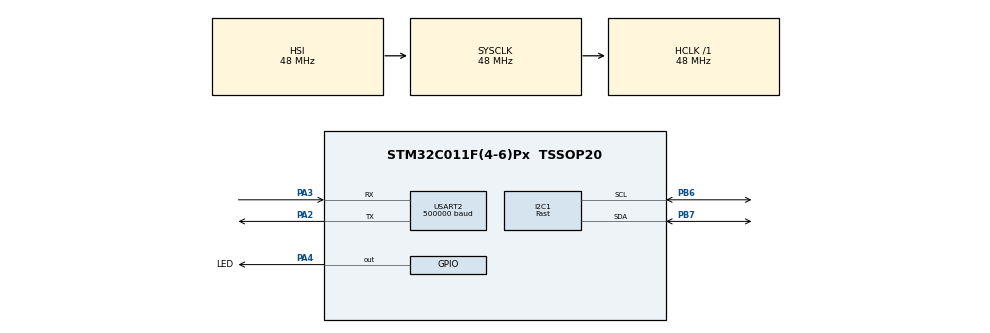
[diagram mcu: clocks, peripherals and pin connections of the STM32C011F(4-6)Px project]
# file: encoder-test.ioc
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I2C1.CustomTiming=Disabled
I2C1.I2C_Speed_Mode=I2C_Fast
I2C1.Timing=0x0090194B
Mcu.Family=STM32C0
Mcu.Name=STM32C011F(4-6)Px
Mcu.Package=TSSOP20
NVIC.TIM3_IRQn=true\:0\:0\:false\:false\:true\:true\:true\:true
PA2.Mode=Asynchronous
PA2.Signal=USART2_TX
PA3.Mode=Asynchronous
PA3.Signal=USART2_RX
PA4.GPIO_Label=LED
PA4.Signal=GPIO_Output
PB6.Mode=I2C
PB6.Signal=I2C1_SCL
PB7.Mode=I2C
PB7.Signal=I2C1_SDA
PC14-OSCX_IN\ (PC14).Mode=HSE-External-Oscillator-REMAPPED
PC14-OSCX_IN\ (PC14).Signal=RCC_OSCX_IN
PC15-OSCX_OUT\ (PC15).Mode=HSE-External-Oscillator-REMAPPED
PC15-OSCX_OUT\ (PC15).Signal=RCC_OSCX_OUT
ProjectManager.HeapSize=0x200
ProjectManager.StackSize=0x400
ProjectManager.TargetToolchain=STM32CubeIDE
RCC.ADCFreq_Value=48000000
RCC.AHBFreq_Value=48000000
RCC.CortexFreq_Value=48000000
RCC.EXTERNAL_CLOCK_VALUE=12288000
RCC.HCLKFreq_Value=48000000
RCC.HSE_VALUE=16000000
RCC.HSISYSCLKDivider=RCC_HSI_DIV1
RCC.HSI_VALUE=48000000
RCC.LSE_VALUE=32768
RCC.SYSCLKFreq_VALUE=48000000
TIM3.Prescaler=47
USART2.BaudRate=500000
USART2.VirtualMode-Asynchronous=VM_ASYNC
VP_TIM3_VS_ClockSourceINT.Mode=Internal
board=custom

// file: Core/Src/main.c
/* USER CODE BEGIN Header */
/**
  ******************************************************************************
  * @file           : main.c
  * @brief          : Main program body
  ******************************************************************************
  * @attention
  *
  * Copyright (c) 2024 STMicroelectronics.
  * All rights reserved.
  *
  * This software is licensed under terms that can be found in the LICENSE file
  * in the root directory of this software component.
  * If no LICENSE file comes with this software, it is provided AS-IS.
  *
  ******************************************************************************
  */
/* USER CODE END Header */
#include "main.h"

/* USER CODE BEGIN Includes */
#include <math.h>
#include <stdio.h>
#include <stdlib.h>
/* USER CODE END Includes */

I2C_HandleTypeDef hi2c1;

TIM_HandleTypeDef htim3;

UART_HandleTypeDef huart2;

/* USER CODE BEGIN PV */
  uint8_t rxBuf[2] = {};
  uint8_t speed_array[3] = {};

  long totalAng = 0;
  long ptotalAng = 0;
  uint16_t Angle;
  uint16_t pAngle;
  int16_t dAngle;

  volatile uint32_t counter;
  uint64_t u_counter;
  uint16_t dtime;

  int16_t speed;
  int16_t pspeed = 0;
  int16_t send_speed = 0;
/* USER CODE END PV */

void SystemClock_Config(void);
static void MX_GPIO_Init(void);
static void MX_TIM3_Init(void);
static void MX_I2C1_Init(void);
static void MX_USART2_UART_Init(void);

/* USER CODE BEGIN 0 */
uint64_t readCounter()
{
  return (counter*65535) + TIM3->CNT;
}

void HAL_TIM_PeriodElapsedCallback(TIM_HandleTypeDef *htim)
{
    if (htim == &htim3){
        counter++;
    }
}

/* USER CODE END 0 */

int main(void)
{

  /* MCU Configuration--------------------------------------------------------*/

  /* Reset of all peripherals, Initializes the Flash interface and the Systick. */
  HAL_Init();

  /* Configure the system clock */
  SystemClock_Config();

  /* Initialize all configured peripherals */
  MX_GPIO_Init();
  MX_TIM3_Init();
  MX_I2C1_Init();
  MX_USART2_UART_Init();
  /* USER CODE BEGIN 2 */
  HAL_TIM_Base_Start_IT(&htim3);

  uint16_t AS5600_ADDR = 0x36 << 1;
  uint8_t ANGLE_ADDR = 0x0E;

  /* USER CODE END 2 */

  /* Infinite loop */
  /* USER CODE BEGIN WHILE */
  HAL_I2C_Master_Transmit(&hi2c1, AS5600_ADDR, &ANGLE_ADDR, 1, 10);
  HAL_I2C_Master_Receive(&hi2c1, AS5600_ADDR, rxBuf, 2, 10);

  uint32_t d_pcounter, Ltika_pcounter;
  d_pcounter = Ltika_pcounter = readCounter();

  pAngle = rxBuf[0]*256 + rxBuf[1];
  ptotalAng = pAngle;

  while (1)
  {
	u_counter = readCounter();

	HAL_I2C_Master_Transmit(&hi2c1, AS5600_ADDR, &ANGLE_ADDR, 1, 10);
	HAL_I2C_Master_Receive(&hi2c1, AS5600_ADDR, rxBuf, 2, 10);

	dtime = readCounter() - d_pcounter;
	d_pcounter = d_pcounter + dtime;

	Angle = rxBuf[0]*256 + rxBuf[1];

	if(Angle-pAngle>0 && abs(Angle-pAngle)<3000){
		totalAng = ptotalAng + (Angle-pAngle);
	}else if(Angle-pAngle<0 && abs(Angle-pAngle)<3000){
		totalAng = ptotalAng + (Angle-pAngle);
	}else if(Angle-pAngle>0 && abs(Angle-pAngle)>3000){
		totalAng = ptotalAng - ((4095-Angle)+pAngle);
	}else if(Angle-pAngle<0 && abs(Angle-pAngle)>3000){
		totalAng = ptotalAng + Angle + (4095-pAngle);
	}else{
		totalAng = ptotalAng;
	}

	dAngle = totalAng - ptotalAng;
    speed = dAngle*78125/ dtime;
    speed = (0.8*speed) + (0.2*pspeed);

	ptotalAng = totalAng;
	pAngle = Angle;
    pspeed = speed;

    send_speed = speed + 5000;
    speed_array[0] = 250;
	speed_array[1] = send_speed % 100;
	speed_array[2] = send_speed / 100;

    HAL_UART_Transmit(&huart2, speed_array, 3, 1);

	if(readCounter() - Ltika_pcounter > 1000000){
		HAL_GPIO_TogglePin(LED_GPIO_Port, LED_Pin);
		Ltika_pcounter = readCounter();
	}
	else{}
    /* USER CODE END WHILE */

  }
}

void SystemClock_Config(void)
{
  RCC_OscInitTypeDef RCC_OscInitStruct = {0};
  RCC_ClkInitTypeDef RCC_ClkInitStruct = {0};

  /** Initializes the RCC Oscillators according to the specified parameters
  * in the RCC_OscInitTypeDef structure.
  */
  RCC_OscInitStruct.OscillatorType = RCC_OSCILLATORTYPE_HSI;
  RCC_OscInitStruct.HSIState = RCC_HSI_ON;
  RCC_OscInitStruct.HSIDiv = RCC_HSI_DIV1;
  RCC_OscInitStruct.HSICalibrationValue = RCC_HSICALIBRATION_DEFAULT;
  if (HAL_RCC_OscConfig(&RCC_OscInitStruct) != HAL_OK)
  {
    Error_Handler();
  }

  /** Initializes the CPU, AHB and APB buses clocks
  */
  RCC_ClkInitStruct.ClockType = RCC_CLOCKTYPE_HCLK|RCC_CLOCKTYPE_SYSCLK
                              |RCC_CLOCKTYPE_PCLK1;
  RCC_ClkInitStruct.SYSCLKSource = RCC_SYSCLKSOURCE_HSI;
  RCC_ClkInitStruct.SYSCLKDivider = RCC_SYSCLK_DIV1;
  RCC_ClkInitStruct.AHBCLKDivider = RCC_HCLK_DIV1;
  RCC_ClkInitStruct.APB1CLKDivider = RCC_APB1_DIV1;

  if (HAL_RCC_ClockConfig(&RCC_ClkInitStruct, FLASH_LATENCY_1) != HAL_OK)
  {
    Error_Handler();
  }
}

static void MX_I2C1_Init(void)
{

  hi2c1.Instance = I2C1;
  hi2c1.Init.Timing = 0x0090194B;
  hi2c1.Init.OwnAddress1 = 0;
  hi2c1.Init.AddressingMode = I2C_ADDRESSINGMODE_7BIT;
  hi2c1.Init.DualAddressMode = I2C_DUALADDRESS_DISABLE;
  hi2c1.Init.OwnAddress2 = 0;
  hi2c1.Init.OwnAddress2Masks = I2C_OA2_NOMASK;
  hi2c1.Init.GeneralCallMode = I2C_GENERALCALL_DISABLE;
  hi2c1.Init.NoStretchMode = I2C_NOSTRETCH_DISABLE;
  if (HAL_I2C_Init(&hi2c1) != HAL_OK)
  {
    Error_Handler();
  }

  /** Configure Analogue filter
  */
  if (HAL_I2CEx_ConfigAnalogFilter(&hi2c1, I2C_ANALOGFILTER_ENABLE) != HAL_OK)
  {
    Error_Handler();
  }

  /** Configure Digital filter
  */
  if (HAL_I2CEx_ConfigDigitalFilter(&hi2c1, 0) != HAL_OK)
  {
    Error_Handler();
  }

}

static void MX_TIM3_Init(void)
{

  TIM_ClockConfigTypeDef sClockSourceConfig = {0};
  TIM_MasterConfigTypeDef sMasterConfig = {0};

  htim3.Instance = TIM3;
  htim3.Init.Prescaler = 47;
  htim3.Init.CounterMode = TIM_COUNTERMODE_UP;
  htim3.Init.Period = 65535;
  htim3.Init.ClockDivision = TIM_CLOCKDIVISION_DIV1;
  htim3.Init.AutoReloadPreload = TIM_AUTORELOAD_PRELOAD_DISABLE;
  if (HAL_TIM_Base_Init(&htim3) != HAL_OK)
  {
    Error_Handler();
  }
  sClockSourceConfig.ClockSource = TIM_CLOCKSOURCE_INTERNAL;
  if (HAL_TIM_ConfigClockSource(&htim3, &sClockSourceConfig) != HAL_OK)
  {
    Error_Handler();
  }
  sMasterConfig.MasterOutputTrigger = TIM_TRGO_RESET;
  sMasterConfig.MasterSlaveMode = TIM_MASTERSLAVEMODE_DISABLE;
  if (HAL_TIMEx_MasterConfigSynchronization(&htim3, &sMasterConfig) != HAL_OK)
  {
    Error_Handler();
  }

}

static void MX_USART2_UART_Init(void)
{

  huart2.Instance = USART2;
  huart2.Init.BaudRate = 500000;
  huart2.Init.WordLength = UART_WORDLENGTH_8B;
  huart2.Init.StopBits = UART_STOPBITS_1;
  huart2.Init.Parity = UART_PARITY_NONE;
  huart2.Init.Mode = UART_MODE_TX_RX;
  huart2.Init.HwFlowCtl = UART_HWCONTROL_NONE;
  huart2.Init.OverSampling = UART_OVERSAMPLING_16;
  huart2.Init.OneBitSampling = UART_ONE_BIT_SAMPLE_DISABLE;
  huart2.Init.ClockPrescaler = UART_PRESCALER_DIV1;
  huart2.AdvancedInit.AdvFeatureInit = UART_ADVFEATURE_NO_INIT;
  if (HAL_UART_Init(&huart2) != HAL_OK)
  {
    Error_Handler();
  }

}

static void MX_GPIO_Init(void)
{
  GPIO_InitTypeDef GPIO_InitStruct = {0};

  /* GPIO Ports Clock Enable */
  __HAL_RCC_GPIOB_CLK_ENABLE();
  __HAL_RCC_GPIOC_CLK_ENABLE();
  __HAL_RCC_GPIOA_CLK_ENABLE();

  /*Configure GPIO pin Output Level */
  HAL_GPIO_WritePin(LED_GPIO_Port, LED_Pin, GPIO_PIN_RESET);

  /*Configure GPIO pin : LED_Pin */
  GPIO_InitStruct.Pin = LED_Pin;
  GPIO_InitStruct.Mode = GPIO_MODE_OUTPUT_PP;
  GPIO_InitStruct.Pull = GPIO_NOPULL;
  GPIO_InitStruct.Speed = GPIO_SPEED_FREQ_LOW;
  HAL_GPIO_Init(LED_GPIO_Port, &GPIO_InitStruct);

}

void Error_Handler(void)
{
  __disable_irq();
  while (1)
  {
  }
}
